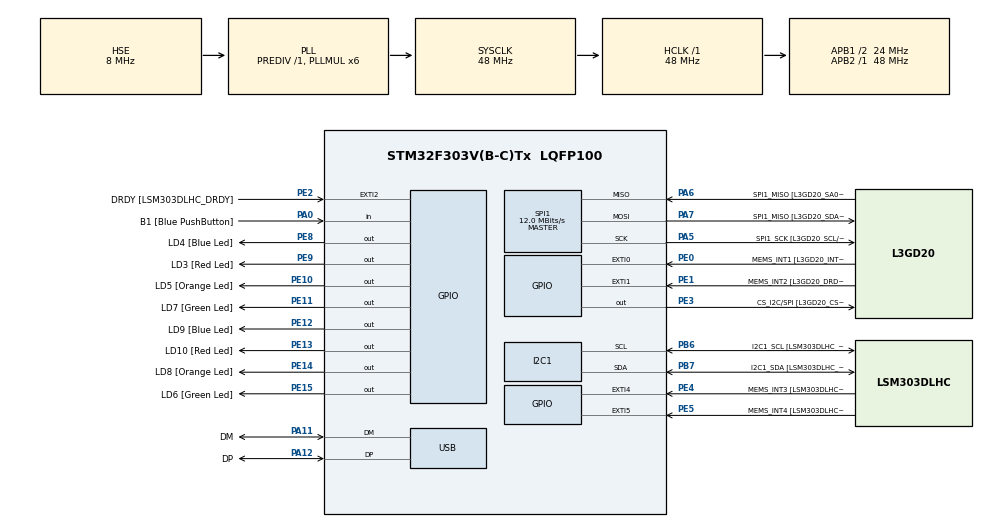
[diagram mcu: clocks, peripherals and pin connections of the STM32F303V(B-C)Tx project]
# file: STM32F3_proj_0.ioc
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I2C1.Timing=0x00201D2B
I2C1.Timing-I2C=0x2000090E
Mcu.Family=STM32F3
Mcu.Name=STM32F303V(B-C)Tx
Mcu.Package=LQFP100
NVIC.PriorityGroup=NVIC_PRIORITYGROUP_0
PA0.GPIO_Label=B1 [Blue PushButton]
PA0.Signal=GPIO_Input
PA11.GPIO_Label=DM
PA11.Mode=Device
PA11.Signal=USB_DM
PA12.GPIO_Label=DP
PA12.Mode=Device
PA12.Signal=USB_DP
PA13.GPIO_Label=SWDIO
PA13.Mode=Serial_Wire
PA13.Signal=SYS_JTMS-SWDIO
PA14.GPIO_Label=SWCLK
PA14.Mode=Serial_Wire
PA14.Signal=SYS_JTCK-SWCLK
PA5.GPIO_Label=SPI1_SCK [L3GD20_SCL/SPC]
PA5.Mode=Full_Duplex_Master
PA5.Signal=SPI1_SCK
PA6.GPIO_Label=SPI1_MISO [L3GD20_SA0/SDO]
PA6.Mode=Full_Duplex_Master
PA6.Signal=SPI1_MISO
PA7.GPIO_Label=SPI1_MISO [L3GD20_SDA/SDI/SDO]
PA7.Mode=Full_Duplex_Master
PA7.Signal=SPI1_MOSI
PB3.GPIO_Label=SWO
PB3.Signal=SYS_JTDO-TRACESWO
PB6.GPIO_Label=I2C1_SCL [LSM303DLHC_SCL]
PB6.GPIO_Pu=GPIO_PULLUP
PB6.Mode=I2C
PB6.Signal=I2C1_SCL
PB7.GPIO_Label=I2C1_SDA [LSM303DLHC_SDA]
PB7.GPIO_Pu=GPIO_PULLUP
PB7.Mode=I2C
PB7.Signal=I2C1_SDA
PC14-OSC32_IN.GPIO_Label=OSC32_IN
PC14-OSC32_IN.Signal=RCC_OSC32_IN
PC15-OSC32_OUT.GPIO_Label=OSC32_OUT
PC15-OSC32_OUT.Signal=RCC_OSC32_OUT
PE0.GPIO_Label=MEMS_INT1 [L3GD20_INT1]
PE0.GPIO_ModeDefaultEXTI=GPIO_MODE_EVT_RISING
PE0.Signal=GPXTI0
PE1.GPIO_Label=MEMS_INT2 [L3GD20_DRDY/INT2]
PE1.GPIO_ModeDefaultEXTI=GPIO_MODE_EVT_RISING
PE1.Signal=GPXTI1
PE10.GPIO_Label=LD5 [Orange Led]
PE10.Signal=GPIO_Output
PE11.GPIO_Label=LD7 [Green Led]
PE11.Signal=GPIO_Output
PE12.GPIO_Label=LD9 [Blue Led]
PE12.Signal=GPIO_Output
PE13.GPIO_Label=LD10 [Red Led]
PE13.Signal=GPIO_Output
PE14.GPIO_Label=LD8 [Orange Led]
PE14.Signal=GPIO_Output
PE15.GPIO_Label=LD6 [Green Led]
PE15.Signal=GPIO_Output
PE2.GPIO_Label=DRDY [LSM303DLHC_DRDY]
PE2.GPIO_ModeDefaultEXTI=GPIO_MODE_EVT_RISING
PE2.Signal=GPXTI2
PE3.GPIO_Label=CS_I2C/SPI [L3GD20_CS_I2C/SPI]
PE3.Signal=GPIO_Output
PE4.GPIO_Label=MEMS_INT3 [LSM303DLHC_INT1]
PE4.GPIO_ModeDefaultEXTI=GPIO_MODE_EVT_RISING
PE4.Signal=GPXTI4
PE5.GPIO_Label=MEMS_INT4 [LSM303DLHC_INT2]
PE5.GPIO_ModeDefaultEXTI=GPIO_MODE_EVT_RISING
PE5.Signal=GPXTI5
PE8.GPIO_Label=LD4 [Blue Led]
PE8.Signal=GPIO_Output
PE9.GPIO_Label=LD3 [Red Led]
PE9.Signal=GPIO_Output
PF0-OSC_IN.GPIO_Label=OSC_IN
PF0-OSC_IN.Mode=HSE-External-Clock-Source
PF0-OSC_IN.Signal=RCC_OSC_IN
PF1-OSC_OUT.GPIO_Label=OSC_OUT
PF1-OSC_OUT.Signal=RCC_OSC_OUT
ProjectManager.HeapSize=0x200
ProjectManager.StackSize=0x400
ProjectManager.TargetToolchain=CMake
RCC.AHBFreq_Value=48000000
RCC.APB1CLKDivider=RCC_HCLK_DIV2
RCC.APB1Freq_Value=24000000
RCC.APB1TimFreq_Value=48000000
RCC.APB2Freq_Value=48000000
RCC.APB2TimFreq_Value=48000000
RCC.CortexFreq_Value=48000000
RCC.HCLKFreq_Value=48000000
RCC.HSE_VALUE=8000000
RCC.HSI_VALUE=8000000
RCC.LSE_VALUE=32768
RCC.PLLMUL=RCC_PLL_MUL6
RCC.SYSCLKFreq_VALUE=48000000
RCC.SYSCLKSourceVirtual=RCC_SYSCLKSOURCE_PLLCLK
RCC.USBFreq_Value=48000000
SPI1.BaudRatePrescaler=SPI_BAUDRATEPRESCALER_4
SPI1.BaudRatePrescaler-Full_Duplex_Master=SPI_BAUDRATEPRESCALER_2
SPI1.CalculateBaudRate=12.0 MBits/s
SPI1.CalculateBaudRate-Full_Duplex_Master=24.0 MBits/s
SPI1.Direction=SPI_DIRECTION_2LINES
SPI1.Mode=SPI_MODE_MASTER
SPI1.Mode-Full_Duplex_Master=SPI_MODE_MASTER
SPI1.VirtualType=VM_MASTER
board=STM32F3DISCOVERY

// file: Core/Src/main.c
/* USER CODE BEGIN Header */
/**
  ******************************************************************************
  * @file           : main.c
  * @brief          : Main program body
  ******************************************************************************
  * @attention
  *
  * Copyright (c) 2025 STMicroelectronics.
  * All rights reserved.
  *
  * This software is licensed under terms that can be found in the LICENSE file
  * in the root directory of this software component.
  * If no LICENSE file comes with this software, it is provided AS-IS.
  *
  ******************************************************************************
  */
/* USER CODE END Header */
#include "main.h"

/* USER CODE BEGIN Includes */
#include "l3gd20.h"
/* USER CODE END Includes */

I2C_HandleTypeDef hi2c1;

SPI_HandleTypeDef hspi1;

PCD_HandleTypeDef hpcd_USB_FS;

/* USER CODE BEGIN PV */
L3GD20_Data gyro_data;
L3GD20_Angle gyro_angle = {0, 0, 0};
uint32_t last_time = 0;
/* USER CODE END PV */

void SystemClock_Config(void);
static void MX_GPIO_Init(void);
static void MX_I2C1_Init(void);
static void MX_SPI1_Init(void);
static void MX_USB_PCD_Init(void);

int main(void)
{

  /* MCU Configuration--------------------------------------------------------*/

  /* Reset of all peripherals, Initializes the Flash interface and the Systick. */
  HAL_Init();

  /* Configure the system clock */
  SystemClock_Config();

  /* Initialize all configured peripherals */
  MX_GPIO_Init();
  MX_I2C1_Init();
  MX_SPI1_Init();
  MX_USB_PCD_Init();
  /* USER CODE BEGIN 2 */
L3GD20_Data gyro_data;

/* Initialize the gyroscope */
if (!L3GD20_Init(&hspi1)) {
    /* Error: Blink LED3 rapidly if init fails */
    while (1) {
        HAL_GPIO_TogglePin(GPIOE, LD3_Pin);
        HAL_Delay(100);
    }
}

/* Indicate successful initialization */
HAL_GPIO_WritePin(GPIOE, LD10_Pin, GPIO_PIN_SET);
HAL_Delay(500);
HAL_GPIO_WritePin(GPIOE, LD10_Pin, GPIO_PIN_RESET);

/* Initialize timer */
last_time = HAL_GetTick();

/* USER CODE END 2 */

  /* Infinite loop */
  /* USER CODE BEGIN WHILE */
  while (1)
  {
    /* Calculate time delta */
    uint32_t current_time = HAL_GetTick();
    float dt = (current_time - last_time) / 1000.0f; /* Convert to seconds */
    last_time = current_time;

    /* Read gyroscope data */
    L3GD20_ReadGyro(&hspi1, &gyro_data);

    /* Update angles through integration */
    L3GD20_UpdateAngles(&gyro_data, &gyro_angle, dt);

    /* Turn off all LEDs */
    HAL_GPIO_WritePin(GPIOE, LD3_Pin|LD4_Pin|LD5_Pin|LD6_Pin|LD7_Pin|LD8_Pin|LD9_Pin|LD10_Pin, GPIO_PIN_RESET);

    /* Adjust these thresholds for sensitivity (in degrees) */
    float angle_threshold = 5.0f;  /* Trigger at 15 degrees tilt */

    /* Y-axis: forward/backward tilt */
    if (gyro_angle.y > angle_threshold) {
        HAL_GPIO_WritePin(GPIOE, LD3_Pin, GPIO_PIN_SET); /* North (Red) */
    } else if (gyro_angle.y < -angle_threshold) {
        HAL_GPIO_WritePin(GPIOE, LD7_Pin, GPIO_PIN_SET); /* South (Green) */
    }

    /* X-axis: left/right tilt */
    if (gyro_angle.x > angle_threshold) {
        HAL_GPIO_WritePin(GPIOE, LD5_Pin, GPIO_PIN_SET); /* East (Orange) */
    } else if (gyro_angle.x < -angle_threshold) {
        HAL_GPIO_WritePin(GPIOE, LD9_Pin, GPIO_PIN_SET); /* West (Blue) */
    }

    /* Diagonal combinations */
    if (gyro_angle.x > angle_threshold && gyro_angle.y > angle_threshold) {
        HAL_GPIO_WritePin(GPIOE, LD4_Pin, GPIO_PIN_SET); /* NE */
    }
    if (gyro_angle.x > angle_threshold && gyro_angle.y < -angle_threshold) {
        HAL_GPIO_WritePin(GPIOE, LD6_Pin, GPIO_PIN_SET); /* SE */
    }
    if (gyro_angle.x < -angle_threshold && gyro_angle.y > angle_threshold) {
        HAL_GPIO_WritePin(GPIOE, LD10_Pin, GPIO_PIN_SET); /* NW */
    }
    if (gyro_angle.x < -angle_threshold && gyro_angle.y < -angle_threshold) {
        HAL_GPIO_WritePin(GPIOE, LD8_Pin, GPIO_PIN_SET); /* SW */
    }

    /* Small delay for stability */
    HAL_Delay(20); /* Faster update rate: 50Hz */

    /* USER CODE END WHILE */

  }
}

void SystemClock_Config(void)
{
  RCC_OscInitTypeDef RCC_OscInitStruct = {0};
  RCC_ClkInitTypeDef RCC_ClkInitStruct = {0};
  RCC_PeriphCLKInitTypeDef PeriphClkInit = {0};

  /** Initializes the RCC Oscillators according to the specified parameters
  * in the RCC_OscInitTypeDef structure.
  */
  RCC_OscInitStruct.OscillatorType = RCC_OSCILLATORTYPE_HSI|RCC_OSCILLATORTYPE_HSE;
  RCC_OscInitStruct.HSEState = RCC_HSE_BYPASS;
  RCC_OscInitStruct.HSEPredivValue = RCC_HSE_PREDIV_DIV1;
  RCC_OscInitStruct.HSIState = RCC_HSI_ON;
  RCC_OscInitStruct.HSICalibrationValue = RCC_HSICALIBRATION_DEFAULT;
  RCC_OscInitStruct.PLL.PLLState = RCC_PLL_ON;
  RCC_OscInitStruct.PLL.PLLSource = RCC_PLLSOURCE_HSE;
  RCC_OscInitStruct.PLL.PLLMUL = RCC_PLL_MUL6;
  if (HAL_RCC_OscConfig(&RCC_OscInitStruct) != HAL_OK)
  {
    Error_Handler();
  }

  /** Initializes the CPU, AHB and APB buses clocks
  */
  RCC_ClkInitStruct.ClockType = RCC_CLOCKTYPE_HCLK|RCC_CLOCKTYPE_SYSCLK
                              |RCC_CLOCKTYPE_PCLK1|RCC_CLOCKTYPE_PCLK2;
  RCC_ClkInitStruct.SYSCLKSource = RCC_SYSCLKSOURCE_PLLCLK;
  RCC_ClkInitStruct.AHBCLKDivider = RCC_SYSCLK_DIV1;
  RCC_ClkInitStruct.APB1CLKDivider = RCC_HCLK_DIV2;
  RCC_ClkInitStruct.APB2CLKDivider = RCC_HCLK_DIV1;

  if (HAL_RCC_ClockConfig(&RCC_ClkInitStruct, FLASH_LATENCY_1) != HAL_OK)
  {
    Error_Handler();
  }
  PeriphClkInit.PeriphClockSelection = RCC_PERIPHCLK_USB|RCC_PERIPHCLK_I2C1;
  PeriphClkInit.I2c1ClockSelection = RCC_I2C1CLKSOURCE_HSI;
  PeriphClkInit.USBClockSelection = RCC_USBCLKSOURCE_PLL;
  if (HAL_RCCEx_PeriphCLKConfig(&PeriphClkInit) != HAL_OK)
  {
    Error_Handler();
  }
}

static void MX_I2C1_Init(void)
{

  hi2c1.Instance = I2C1;
  hi2c1.Init.Timing = 0x00201D2B;
  hi2c1.Init.OwnAddress1 = 0;
  hi2c1.Init.AddressingMode = I2C_ADDRESSINGMODE_7BIT;
  hi2c1.Init.DualAddressMode = I2C_DUALADDRESS_DISABLE;
  hi2c1.Init.OwnAddress2 = 0;
  hi2c1.Init.OwnAddress2Masks = I2C_OA2_NOMASK;
  hi2c1.Init.GeneralCallMode = I2C_GENERALCALL_DISABLE;
  hi2c1.Init.NoStretchMode = I2C_NOSTRETCH_DISABLE;
  if (HAL_I2C_Init(&hi2c1) != HAL_OK)
  {
    Error_Handler();
  }

  /** Configure Analogue filter
  */
  if (HAL_I2CEx_ConfigAnalogFilter(&hi2c1, I2C_ANALOGFILTER_ENABLE) != HAL_OK)
  {
    Error_Handler();
  }

  /** Configure Digital filter
  */
  if (HAL_I2CEx_ConfigDigitalFilter(&hi2c1, 0) != HAL_OK)
  {
    Error_Handler();
  }

}

static void MX_SPI1_Init(void)
{

  /* SPI1 parameter configuration*/
  hspi1.Instance = SPI1;
  hspi1.Init.Mode = SPI_MODE_MASTER;
  hspi1.Init.Direction = SPI_DIRECTION_2LINES;
  hspi1.Init.DataSize = SPI_DATASIZE_8BIT;  // Changed from 4BIT to 8BIT
  hspi1.Init.CLKPolarity = SPI_POLARITY_LOW;
  hspi1.Init.CLKPhase = SPI_PHASE_1EDGE;
  hspi1.Init.NSS = SPI_NSS_SOFT;
  hspi1.Init.BaudRatePrescaler = SPI_BAUDRATEPRESCALER_4;
  hspi1.Init.FirstBit = SPI_FIRSTBIT_MSB;
  hspi1.Init.TIMode = SPI_TIMODE_DISABLE;
  hspi1.Init.CRCCalculation = SPI_CRCCALCULATION_DISABLE;
  hspi1.Init.CRCPolynomial = 7;
  hspi1.Init.CRCLength = SPI_CRC_LENGTH_DATASIZE;
  hspi1.Init.NSSPMode = SPI_NSS_PULSE_ENABLE;
  if (HAL_SPI_Init(&hspi1) != HAL_OK)
  {
    Error_Handler();
  }

}

static void MX_USB_PCD_Init(void)
{

  hpcd_USB_FS.Instance = USB;
  hpcd_USB_FS.Init.dev_endpoints = 8;
  hpcd_USB_FS.Init.speed = PCD_SPEED_FULL;
  hpcd_USB_FS.Init.phy_itface = PCD_PHY_EMBEDDED;
  hpcd_USB_FS.Init.low_power_enable = DISABLE;
  hpcd_USB_FS.Init.battery_charging_enable = DISABLE;
  if (HAL_PCD_Init(&hpcd_USB_FS) != HAL_OK)
  {
    Error_Handler();
  }

}

static void MX_GPIO_Init(void)
{
  GPIO_InitTypeDef GPIO_InitStruct = {0};

  /* GPIO Ports Clock Enable */
  __HAL_RCC_GPIOE_CLK_ENABLE();
  __HAL_RCC_GPIOC_CLK_ENABLE();
  __HAL_RCC_GPIOF_CLK_ENABLE();
  __HAL_RCC_GPIOA_CLK_ENABLE();
  __HAL_RCC_GPIOB_CLK_ENABLE();

  /*Configure GPIO pin Output Level */
  HAL_GPIO_WritePin(GPIOE, CS_I2C_SPI_Pin|LD4_Pin|LD3_Pin|LD5_Pin
                          |LD7_Pin|LD9_Pin|LD10_Pin|LD8_Pin
                          |LD6_Pin, GPIO_PIN_RESET);

  /*Configure GPIO pins : DRDY_Pin MEMS_INT3_Pin MEMS_INT4_Pin MEMS_INT1_Pin
                           MEMS_INT2_Pin */
  GPIO_InitStruct.Pin = DRDY_Pin|MEMS_INT3_Pin|MEMS_INT4_Pin|MEMS_INT1_Pin
                          |MEMS_INT2_Pin;
  GPIO_InitStruct.Mode = GPIO_MODE_EVT_RISING;
  GPIO_InitStruct.Pull = GPIO_NOPULL;
  HAL_GPIO_Init(GPIOE, &GPIO_InitStruct);

  /*Configure GPIO pins : CS_I2C_SPI_Pin LD4_Pin LD3_Pin LD5_Pin
                           LD7_Pin LD9_Pin LD10_Pin LD8_Pin
                           LD6_Pin */
  GPIO_InitStruct.Pin = CS_I2C_SPI_Pin|LD4_Pin|LD3_Pin|LD5_Pin
                          |LD7_Pin|LD9_Pin|LD10_Pin|LD8_Pin
                          |LD6_Pin;
  GPIO_InitStruct.Mode = GPIO_MODE_OUTPUT_PP;
  GPIO_InitStruct.Pull = GPIO_NOPULL;
  GPIO_InitStruct.Speed = GPIO_SPEED_FREQ_LOW;
  HAL_GPIO_Init(GPIOE, &GPIO_InitStruct);

  /*Configure GPIO pin : B1_Pin */
  GPIO_InitStruct.Pin = B1_Pin;
  GPIO_InitStruct.Mode = GPIO_MODE_INPUT;
  GPIO_InitStruct.Pull = GPIO_NOPULL;
  HAL_GPIO_Init(B1_GPIO_Port, &GPIO_InitStruct);

}

void Error_Handler(void)
{
  __disable_irq();
  while (1)
  {
  }
}
